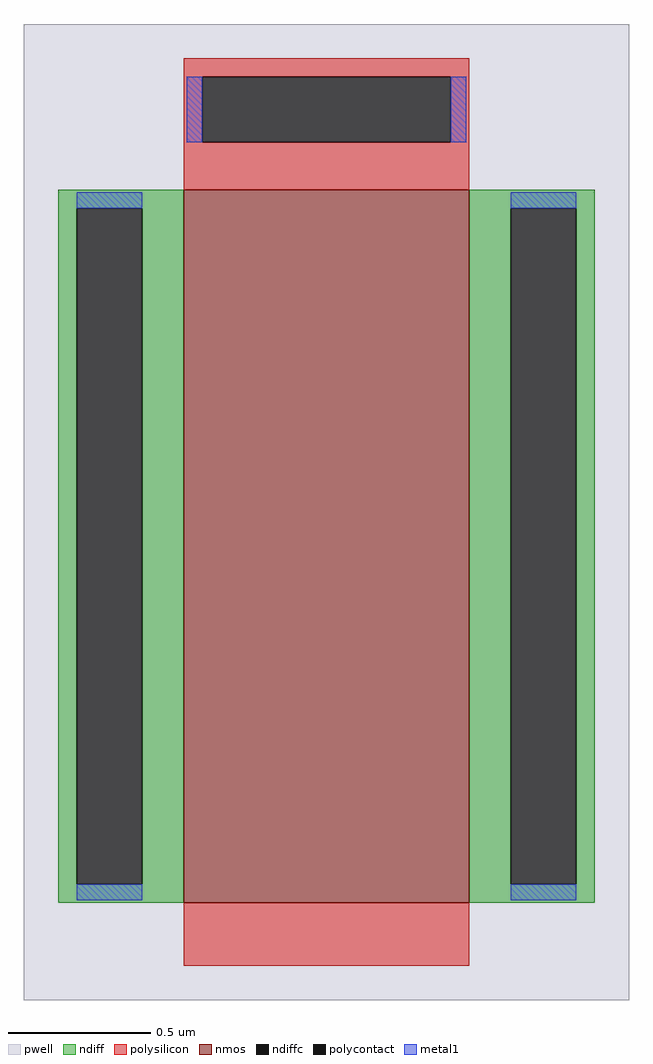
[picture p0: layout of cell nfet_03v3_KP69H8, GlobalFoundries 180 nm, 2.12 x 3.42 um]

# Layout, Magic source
magic
tech gf180mcuD
magscale 1 10
<< pwell >>
rect -212 -342 212 342
<< nmos >>
rect -100 -274 100 226
<< ndiff >>
rect -188 213 -100 226
rect -188 -261 -175 213
rect -129 -261 -100 213
rect -188 -274 -100 -261
rect 100 213 188 226
rect 100 -261 129 213
rect 175 -261 188 213
rect 100 -274 188 -261
<< ndiffc >>
rect -175 -261 -129 213
rect 129 -261 175 213
<< polysilicon >>
rect -100 305 100 318
rect -100 259 -87 305
rect 87 259 100 305
rect -100 226 100 259
rect -100 -318 100 -274
<< polycontact >>
rect -87 259 87 305
<< metal1 >>
rect -98 259 -87 305
rect 87 259 98 305
rect -175 213 -129 224
rect -175 -272 -129 -261
rect 129 213 175 224
rect 129 -272 175 -261
<< properties >>
string gencell nfet_03v3
string library gf180mcu
string parameters w 2.5 l 1 m 1 nf 1 diffcov 100 polycov 100 guard 0 glc 0 grc 0 gtc 0 gbc 0 tbcov 100 rlcov 100 topc 1 botc 0 poverlap 0 doverlap 1 lmin 0.28 wmin 0.22 class mosfet full_metal 0 compatible {nfet_03v3 nfet_05v0 nfet_06v0 nfet_06v0_nvt}
<< end >>
